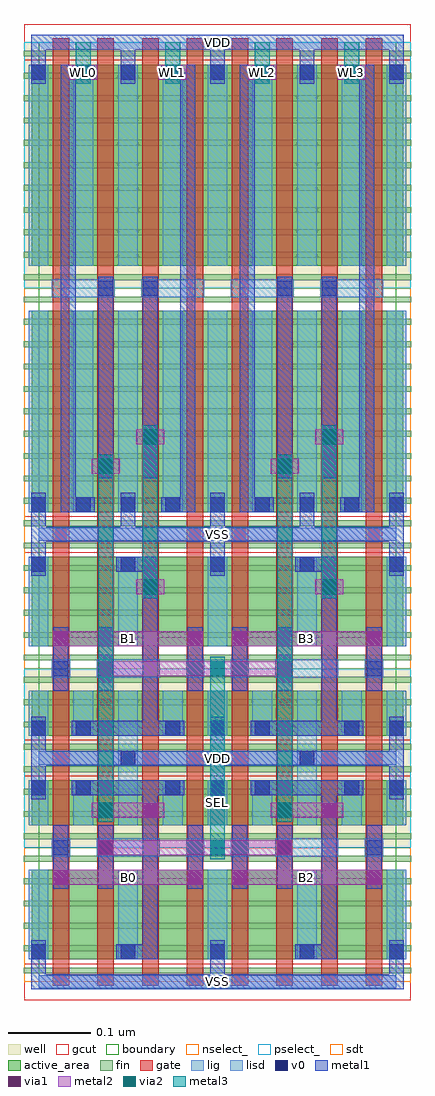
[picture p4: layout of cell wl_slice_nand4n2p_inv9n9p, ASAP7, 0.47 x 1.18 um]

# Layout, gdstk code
from math import pi, radians
import gdstk
lib = gdstk.Library(unit=1e-6, precision=1e-10)
def R(c, l, rs):  # rectangles x0, y0, x1, y1
    for r in rs: c.add(gdstk.rectangle(r[:2], r[2:], *l))
def A(c, l, x, y, w, h, nx, ny, dx, dy):  # array of equal rectangles
    R(c, l, [(x+i*dx, y+j*dy, x+i*dx+w, y+j*dy+h) for i in range(nx) for j in range(ny)])
well = (1, 0)
fin = (2, 0)
gate = (7, 0)
gcut = (10, 0)
active_area = (11, 0)
nselect_ = (12, 0)
pselect_ = (13, 0)
lig = (16, 0)
lisd = (17, 0)
v0 = (18, 0)
metal1 = (19, 0)
metal2 = (20, 0)
via1 = (21, 0)
via2 = (25, 0)
metal3 = (30, 0)
sdt = (88, 0)
boundary = (100, 0)

wl_slice_nand4n2p_inv9n9 = lib.new_cell('wl_slice_nand4n2p_inv9n9p__nand')
R(wl_slice_nand4n2p_inv9n9, well, [(-0.017,0.162,0.233,0.27)])
A(wl_slice_nand4n2p_inv9n9, fin, -0.018, 0.01, 0.252, 0.007, 1, 10, 0, 0.027)
A(wl_slice_nand4n2p_inv9n9, gate, 0.017, -0.005, 0.02, 0.28, 4, 1, 0.054, 0)
R(wl_slice_nand4n2p_inv9n9, gcut, [(-0.017,-0.022,0.233,0.022), (-0.017,0.248,0.233,0.292)])
R(wl_slice_nand4n2p_inv9n9, active_area, [(-0.008,0.027,0.224,0.135), (-0.008,0.189,0.224,0.243)])
R(wl_slice_nand4n2p_inv9n9, nselect_, [(-0.017,0,0.233,0.162)])
R(wl_slice_nand4n2p_inv9n9, pselect_, [(-0.017,0.162,0.233,0.27)])
R(wl_slice_nand4n2p_inv9n9, lig, [(0,-0.008,0.216,0.008), (0.016,0.151,0.038,0.173), (0.07,0.151,0.146,0.173), (0.178,0.151,0.2,0.173), (0,0.262,0.216,0.278)])
A(wl_slice_nand4n2p_inv9n9, lisd, -0.012, 0.027, 0.024, 0.108, 3, 1, 0.108, 0)
A(wl_slice_nand4n2p_inv9n9, lisd, -0.012, 0.189, 0.024, 0.054, 5, 1, 0.054, 0)
R(wl_slice_nand4n2p_inv9n9, lisd, [(0.096,0.189,0.12,0.27)])
A(wl_slice_nand4n2p_inv9n9, v0, -0.009, 0.027, 0.018, 0.018, 3, 1, 0.108, 0)
R(wl_slice_nand4n2p_inv9n9, v0, [(0.018,0.153,0.036,0.171), (0.072,0.153,0.09,0.171), (0.18,0.153,0.198,0.171), (-0.009,0.225,0.009,0.243), (0.045,0.225,0.063,0.243), (0.153,0.225,0.171,0.243), (0.207,0.225,0.225,0.243), (0.099,0.261,0.117,0.279)])
R(wl_slice_nand4n2p_inv9n9, metal1, [(-0.009,-0.009,0.009,0.05), (0,-0.009,0.216,0.009), (0.207,-0.009,0.225,0.05), (0.094,0.027,0.144,0.045), (0.126,0.027,0.144,0.243), (0.018,0.112,0.036,0.189), (0.072,0.112,0.09,0.189), (0.18,0.112,0.198,0.189), (-0.009,0.22,0.009,0.279), (0.207,0.22,0.225,0.279), (0.04,0.225,0.176,0.243), (0,0.261,0.216,0.279)])
R(wl_slice_nand4n2p_inv9n9, metal2, [(0.018,0.117,0.198,0.135)])
R(wl_slice_nand4n2p_inv9n9, via1, [(0.018,0.117,0.036,0.135), (0.18,0.117,0.198,0.135)])
A(wl_slice_nand4n2p_inv9n9, sdt, -0.012, 0.027, 0.024, 0.108, 3, 1, 0.108, 0)
A(wl_slice_nand4n2p_inv9n9, sdt, -0.012, 0.189, 0.024, 0.054, 5, 1, 0.054, 0)
R(wl_slice_nand4n2p_inv9n9, boundary, [(0,0,0.216,0.27)])

c_wl_slice_nand4n2p_inv9n9 = lib.new_cell('wl_slice_nand4n2p_inv9n9p__inv')
R(c_wl_slice_nand4n2p_inv9n9, well, [(-0.017,0.297,0.179,0.594)])
A(c_wl_slice_nand4n2p_inv9n9, fin, -0.018, 0.01, 0.198, 0.007, 1, 22, 0, 0.027)
A(c_wl_slice_nand4n2p_inv9n9, gate, 0.017, -0.005, 0.02, 0.604, 3, 1, 0.054, 0)
R(c_wl_slice_nand4n2p_inv9n9, gcut, [(-0.017,-0.022,0.179,0.022), (-0.017,0.572,0.179,0.616)])
R(c_wl_slice_nand4n2p_inv9n9, active_area, [(-0.008,0.027,0.17,0.27), (-0.008,0.324,0.17,0.567)])
R(c_wl_slice_nand4n2p_inv9n9, nselect_, [(-0.017,0,0.179,0.297)])
R(c_wl_slice_nand4n2p_inv9n9, pselect_, [(-0.017,0.297,0.179,0.594)])
R(c_wl_slice_nand4n2p_inv9n9, lig, [(0.016,0.286,0.092,0.308)])
A(c_wl_slice_nand4n2p_inv9n9, lisd, -0.012, 0.027, 0.024, 0.243, 3, 2, 0.054, 0.297)
A(c_wl_slice_nand4n2p_inv9n9, v0, -0.009, 0.027, 0.018, 0.018, 3, 2, 0.054, 0.522)
R(c_wl_slice_nand4n2p_inv9n9, v0, [(0.072,0.288,0.09,0.306)])
R(c_wl_slice_nand4n2p_inv9n9, metal1, [(-0.009,-0.009,0.009,0.05), (0,-0.009,0.162,0.009), (0.099,-0.009,0.117,0.05), (0.027,0.027,0.045,0.567), (0.027,0.027,0.068,0.045), (0.072,0.068,0.09,0.311), (-0.009,0.544,0.009,0.603), (0.099,0.544,0.117,0.603), (0.027,0.549,0.068,0.567), (0,0.585,0.162,0.603)])
A(c_wl_slice_nand4n2p_inv9n9, sdt, -0.012, 0.027, 0.024, 0.243, 3, 2, 0.054, 0.297)
R(c_wl_slice_nand4n2p_inv9n9, boundary, [(0,0,0.162,0.594)])

c_wl_slice_nand4n2p_inv9n9_ = lib.new_cell('wl_slice_nand4n2p_inv9n9p')
A(c_wl_slice_nand4n2p_inv9n9_, metal2, 0.037, 1.089, 0.034, 0.018, 4, 1, 0.108, 0)
R(c_wl_slice_nand4n2p_inv9n9_, metal2, [(0.072,0.153,0.306,0.171), (0.064,0.198,0.152,0.216), (0.28,0.198,0.368,0.216), (0.072,0.369,0.306,0.387), (0.118,0.468,0.152,0.486), (0.334,0.468,0.368,0.486), (0.064,0.613,0.098,0.631), (0.28,0.613,0.314,0.631), (0.118,0.649,0.152,0.667), (0.334,0.649,0.368,0.667)])
A(c_wl_slice_nand4n2p_inv9n9_, via1, 0.045, 1.089, 0.018, 0.018, 4, 1, 0.108, 0)
R(c_wl_slice_nand4n2p_inv9n9_, via1, [(0.072,0.153,0.09,0.171), (0.288,0.153,0.306,0.171), (0.126,0.198,0.144,0.216), (0.342,0.198,0.36,0.216), (0.072,0.369,0.09,0.387), (0.288,0.369,0.306,0.387), (0.126,0.468,0.144,0.486), (0.342,0.468,0.36,0.486), (0.072,0.613,0.09,0.631), (0.288,0.613,0.306,0.631), (0.126,0.649,0.144,0.667), (0.342,0.649,0.36,0.667)])
A(c_wl_slice_nand4n2p_inv9n9_, via2, 0.045, 1.089, 0.018, 0.018, 4, 1, 0.108, 0)
R(c_wl_slice_nand4n2p_inv9n9_, via2, [(0.207,0.153,0.225,0.171), (0.072,0.198,0.09,0.216), (0.288,0.198,0.306,0.216), (0.207,0.369,0.225,0.387), (0.126,0.468,0.144,0.486), (0.342,0.468,0.36,0.486), (0.072,0.613,0.09,0.631), (0.288,0.613,0.306,0.631), (0.126,0.649,0.144,0.667), (0.342,0.649,0.36,0.667)])
A(c_wl_slice_nand4n2p_inv9n9_, metal3, 0.045, 1.084, 0.018, 0.05, 4, 1, 0.108, 0)
R(c_wl_slice_nand4n2p_inv9n9_, metal3, [(0.207,0.148,0.225,0.392), (0.072,0.193,0.09,0.636), (0.288,0.193,0.306,0.636), (0.126,0.463,0.144,0.672), (0.342,0.463,0.36,0.672)])
R(c_wl_slice_nand4n2p_inv9n9_, boundary, [(0,0,0.432,1.134)])
c_wl_slice_nand4n2p_inv9n9_.add(gdstk.Reference(wl_slice_nand4n2p_inv9n9, (0,0)))
c_wl_slice_nand4n2p_inv9n9_.add(gdstk.Reference(wl_slice_nand4n2p_inv9n9, (0,0.54), x_reflection=True))
c_wl_slice_nand4n2p_inv9n9_.add(gdstk.Reference(wl_slice_nand4n2p_inv9n9, (0.216,0)))
c_wl_slice_nand4n2p_inv9n9_.add(gdstk.Reference(wl_slice_nand4n2p_inv9n9, (0.216,0.54), x_reflection=True))
c_wl_slice_nand4n2p_inv9n9_.add(gdstk.Reference(c_wl_slice_nand4n2p_inv9n9, (0,0.54)))
c_wl_slice_nand4n2p_inv9n9_.add(gdstk.Reference(c_wl_slice_nand4n2p_inv9n9, (0.216,0.54), rotation=pi, x_reflection=True))
c_wl_slice_nand4n2p_inv9n9_.add(gdstk.Reference(c_wl_slice_nand4n2p_inv9n9, (0.216,0.54)))
c_wl_slice_nand4n2p_inv9n9_.add(gdstk.Reference(c_wl_slice_nand4n2p_inv9n9, (0.432,0.54), rotation=pi, x_reflection=True))
c_wl_slice_nand4n2p_inv9n9_.add(gdstk.Label('SEL', (0.216,0.216), layer=30, texttype=251))
c_wl_slice_nand4n2p_inv9n9_.add(gdstk.Label('B0', (0.108,0.126), layer=20, texttype=251))
c_wl_slice_nand4n2p_inv9n9_.add(gdstk.Label('B1', (0.108,0.414), layer=20, texttype=251))
c_wl_slice_nand4n2p_inv9n9_.add(gdstk.Label('B2', (0.324,0.126), layer=20, texttype=251))
c_wl_slice_nand4n2p_inv9n9_.add(gdstk.Label('B3', (0.324,0.414), layer=20, texttype=251))
c_wl_slice_nand4n2p_inv9n9_.add(gdstk.Label('WL0', (0.054,1.098), layer=30, texttype=251))
c_wl_slice_nand4n2p_inv9n9_.add(gdstk.Label('WL1', (0.162,1.098), layer=30, texttype=251))
c_wl_slice_nand4n2p_inv9n9_.add(gdstk.Label('WL2', (0.27,1.098), layer=30, texttype=251))
c_wl_slice_nand4n2p_inv9n9_.add(gdstk.Label('WL3', (0.378,1.098), layer=30, texttype=251))
c_wl_slice_nand4n2p_inv9n9_.add(gdstk.Label('VSS', (0.216,0), layer=19, texttype=251))
c_wl_slice_nand4n2p_inv9n9_.add(gdstk.Label('VDD', (0.216,0.27), layer=19, texttype=251))
c_wl_slice_nand4n2p_inv9n9_.add(gdstk.Label('VSS', (0.216,0.54), layer=19, texttype=251))
c_wl_slice_nand4n2p_inv9n9_.add(gdstk.Label('VDD', (0.216,1.134), layer=19, texttype=251))

lib.write_gds('wl_slice_nand4n2p_inv9n9p.gds')
